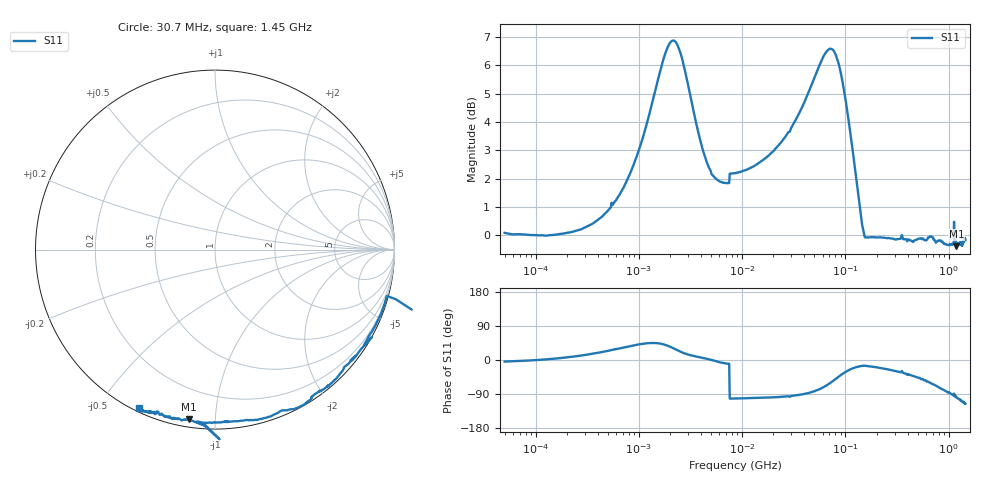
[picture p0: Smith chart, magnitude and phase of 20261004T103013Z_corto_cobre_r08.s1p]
! piloto_corto / corto_cobre / r08
# HZ S RI R 50
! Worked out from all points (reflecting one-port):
!   501 points, 50 kHz to 1.45 GHz, reference 50 ohm
!   lowest |S11| = -0.4 dB at 1.189 GHz (marker M1), VSWR 45.21, Z = 1.92 - j42.9 ohm
!   phase of S11 starts at -4 deg and turns -111 deg over the sweep
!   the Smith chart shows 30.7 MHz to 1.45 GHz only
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50000  1.007 -0.0722
183000  1.002 0.0991
373000  1.006 0.3177
658000  1.016 0.6108
1180000  1.125 1.087
1630000  1.44 1.342
1990000  1.782 1.264
2440000  1.952 0.8591
3430000  1.609 0.2938
4870000  1.305 0.0282
7300000  1.218 -0.2134
7750000  -0.2632 -1.258
8560000  -0.2569 -1.261
1.81e7  -0.2181 -1.366
3.16e7  -0.1111 -1.573
4.78e7  0.1892 -1.847
6.67e7  0.8678 -1.932
7.57e7  1.209 -1.746
8.83e7  1.473 -1.302
9.82e7  1.488 -0.9676
1e8  1.479 -0.9136
1.18e8  1.302 -0.521
1.36e8  1.095 -0.3335
1.63e8  0.9531 -0.2723
4.06e8  0.785 -0.5931
6.58e8  0.5006 -0.8601
1.189e9  -0.1453 -0.9456
1.45e9  -0.4218 -0.8848
